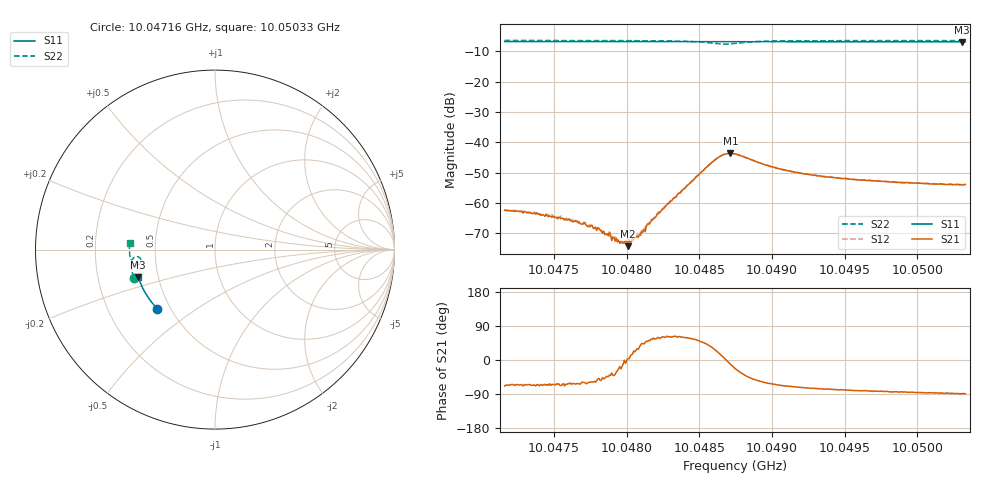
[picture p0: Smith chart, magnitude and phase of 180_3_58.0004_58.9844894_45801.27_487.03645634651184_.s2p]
#  HZ  S  RI  R  50.00
! Rohde & Schwarz Vector Network Analyzer
! Rohde-Schwarz,ZNB20-2Port,1311601062101988,3.16
! Created: UTC 3/21/2024, 12:58:18 AM
! freq[Hz]  re:S11  im:S11  re:S21  im:S21  re:S12  im:S12  re:S22  im:S22
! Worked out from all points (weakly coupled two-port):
!   401 points, 10.04716 GHz to 10.05033 GHz, reference 50 ohm
!   highest |S21| = -43.66 dB at 10.04871 GHz (marker M1); lowest = -74.3 dB at 10.04801 GHz (marker M2)
!   lowest |S11| = -6.8 dB at 10.05031 GHz (marker M3), VSWR 2.67, Z = 19.2 - j7.48 ohm
!   |S11| at or under -10 dB: nowhere
!   |S22| runs from -7.6 to -6.4 dB; largest |S21 - S12| = 0.00043
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1.004716e10  -0.3208 -0.3303  0.000275 -0.000702  0.000362 -0.000653  -0.4528 -0.1565
1.0047366e10  -0.3301 -0.3202  0.000276 -0.000621  0.000331 -0.00062  -0.457 -0.1427
1.0047691e10  -0.3443 -0.304  0.000233 -0.000379  0.000267 -0.000382  -0.4625 -0.12
1.0047802e10  -0.3488 -0.2983  0.000252 -0.000297  0.00025 -0.000276  -0.4639 -0.1118
1.0047842e10  -0.3506 -0.2963  0.000222 -0.000259  0.000207 -0.000248  -0.4643 -0.1087
1.0047874e10  -0.3518 -0.2946  0.000208 -0.0002  0.000236 -0.000168  -0.4647 -0.1062
1.0047913e10  -0.3533 -0.2925  0.000199 -0.000174  0.00023 -0.000117  -0.4652 -0.1033
1.0047953e10  -0.355 -0.2905  0.000204 -6.44e-05  0.000195 -9.8e-05  -0.4656 -0.1
1.0048008e10  -0.3573 -0.2874  0.000192 1.31e-05  0.000217 1.35e-05  -0.466 -0.0955
1.004804e10  -0.3586 -0.2858  0.000248 6.77e-05  0.000235 6.87e-05  -0.4663 -0.0929
1.0048095e10  -0.3607 -0.2828  0.000225 0.000185  0.000246 0.000208  -0.4666 -0.0882
1.0048151e10  -0.3629 -0.28  0.000276 0.000346  0.00027 0.000383  -0.4667 -0.0832
1.0048222e10  -0.3657 -0.276  0.000352 0.000574  0.000328 0.000629  -0.4664 -0.0762
1.0048595e10  -0.3791 -0.2554  0.00415 0.00247  0.00399 0.00275  -0.4299 -0.0395
1.0048658e10  -0.3811 -0.252  0.00603 0.00108  0.00599 0.00142  -0.4141 -0.0523
1.0048713e10  -0.3828 -0.2491  0.00643 -0.00127  0.00654 -0.00086  -0.4143 -0.0716
1.0048745e10  -0.3839 -0.2475  0.00593 -0.00243  0.00609 -0.00203  -0.4208 -0.0797
1.004903e10  -0.3938 -0.2314  0.00156 -0.00339  0.0018 -0.00331  -0.4659 -0.0645
1.0049276e10  -0.4014 -0.2172  0.000756 -0.00278  0.000936 -0.00273  -0.4732 -0.0412
1.0049807e10  -0.4162 -0.1852  0.000234 -0.00221  0.000391 -0.0022  -0.4767 -0.000116
1.0050306e10  -0.4277 -0.1544  4.43e-05 -0.00198  0.000162 -0.00202  -0.4755 0.0349
1.005033e10  -0.4283 -0.1531  2.42e-05 -0.00201  0.00015 -0.00198  -0.4753 0.0365
